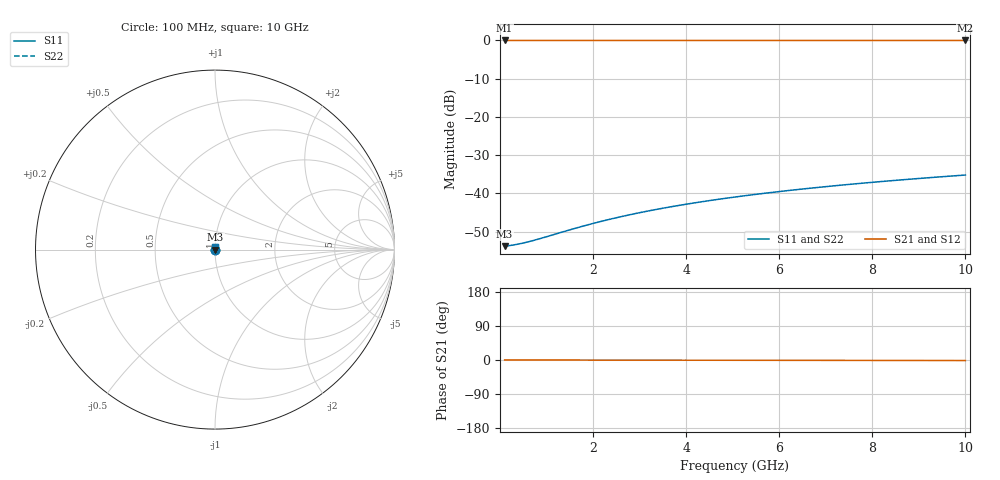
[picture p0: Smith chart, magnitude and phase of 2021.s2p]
# Hz S RI R 50.00
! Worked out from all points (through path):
!   100 points, 100 MHz to 10 GHz, reference 50 ohm
!   highest |S21| = -0.02 dB at 100 MHz (marker M1); lowest = 0.0 dB at 10 GHz (marker M2)
!   lowest |S11| = -53.8 dB at 100 MHz (marker M3), VSWR 1.00, Z = 50.2 + j0.0173 ohm
!   |S11| at or under -10 dB: start of sweep to end of sweep
!   |S22| runs from -53.8 to -35.2 dB; largest |S21 - S12| = 1e-14
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1e8  0.00204 0.000172  0.998 -0.000243  0.998 -0.000243  0.00204 0.000172
3e8  0.00206 0.000515  0.9979 -0.00073  0.9979 -0.00073  0.00206 0.000515
4e8  0.00207 0.000687  0.9979 -0.000974  0.9979 -0.000974  0.00207 0.000687
6e8  0.00208 0.00103  0.9979 -0.00146  0.9979 -0.00146  0.00208 0.00103
9e8  0.0021 0.00155  0.9979 -0.00219  0.9979 -0.00219  0.0021 0.00155
1.5e9  0.00213 0.00258  0.9979 -0.00365  0.9979 -0.00365  0.00213 0.00258
1.8e9  0.00214 0.00309  0.9979 -0.00438  0.9979 -0.00438  0.00214 0.00309
2.2e9  0.00216 0.00378  0.9978 -0.00536  0.9978 -0.00536  0.00216 0.00378
2.6e9  0.00217 0.00447  0.9978 -0.00633  0.9978 -0.00633  0.00217 0.00447
3e9  0.00219 0.00515  0.9978 -0.0073  0.9978 -0.0073  0.00219 0.00515
3.4e9  0.00221 0.00584  0.9978 -0.00828  0.9978 -0.00828  0.00221 0.00584
3.8e9  0.00223 0.00653  0.9978 -0.00925  0.9978 -0.00925  0.00223 0.00653
4.2e9  0.00225 0.00721  0.9977 -0.0102  0.9977 -0.0102  0.00225 0.00721
4.6e9  0.00227 0.0079  0.9977 -0.0112  0.9977 -0.0112  0.00227 0.0079
5.1e9  0.00229 0.00876  0.9977 -0.0124  0.9977 -0.0124  0.00229 0.00876
5.5e9  0.00232 0.00945  0.9977 -0.0134  0.9977 -0.0134  0.00232 0.00945
5.9e9  0.00234 0.0101  0.9976 -0.0144  0.9976 -0.0144  0.00234 0.0101
6.7e9  0.00239 0.0115  0.9976 -0.0163  0.9976 -0.0163  0.00239 0.0115
7.5e9  0.00245 0.0129  0.9975 -0.0183  0.9975 -0.0183  0.00245 0.0129
8.4e9  0.00252 0.0144  0.9975 -0.0205  0.9975 -0.0205  0.00252 0.0144
9.2e9  0.00259 0.0158  0.9974 -0.0224  0.9974 -0.0224  0.00259 0.0158
1e10  0.00266 0.0172  0.9973 -0.0244  0.9973 -0.0244  0.00266 0.0172
